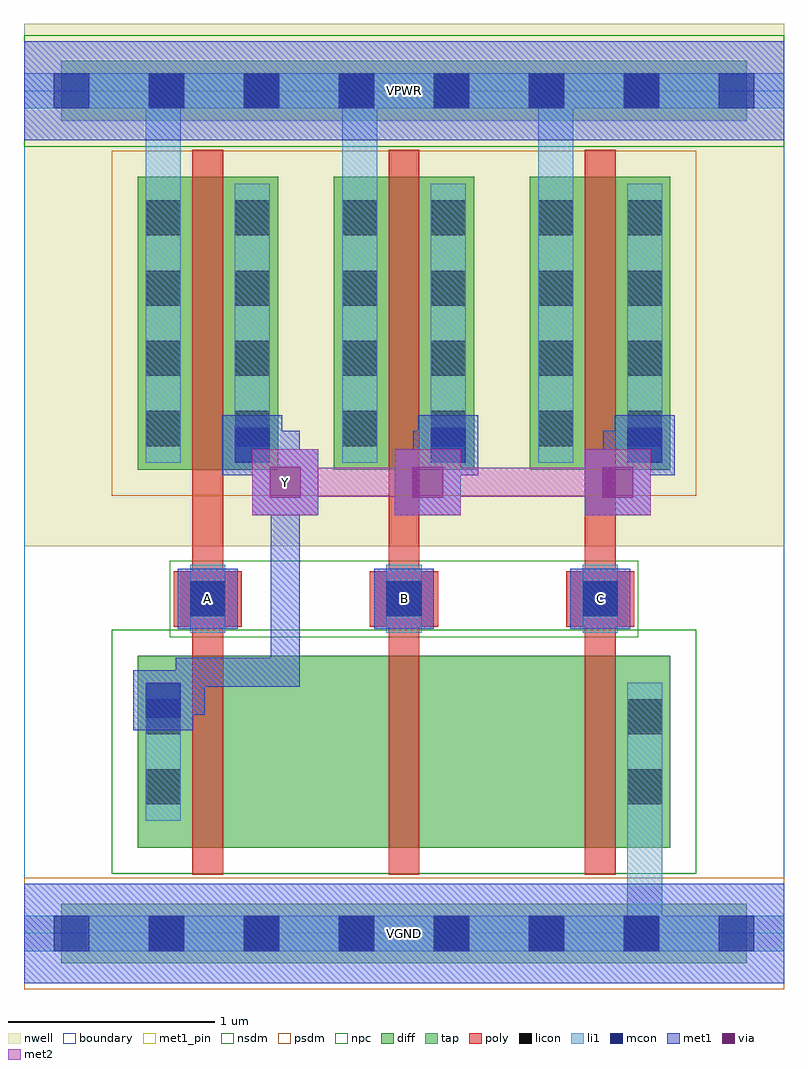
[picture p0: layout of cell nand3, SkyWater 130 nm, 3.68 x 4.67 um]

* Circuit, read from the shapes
.subckt nand3 A B C VGND VPWR Y
XM1 n1 A Y VGND sky130_fd_pr__nfet_01v8 w=0.93 l=0.15
XM2 n2 B n1 VGND sky130_fd_pr__nfet_01v8 w=0.93 l=0.15
XM3 VGND C n2 VGND sky130_fd_pr__nfet_01v8 w=0.93 l=0.15
XM4 Y A VPWR VPWR sky130_fd_pr__pfet_01v8 w=1.42 l=0.15
XM5 Y B VPWR VPWR sky130_fd_pr__pfet_01v8 w=1.42 l=0.15
XM6 Y C VPWR VPWR sky130_fd_pr__pfet_01v8 w=1.42 l=0.15
.ends

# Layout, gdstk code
import gdstk
lib = gdstk.Library(unit=1e-6, precision=1e-09)
def R(c, l, rs):  # rectangles x0, y0, x1, y1
    for r in rs: c.add(gdstk.rectangle(r[:2], r[2:], *l))
def A(c, l, x, y, w, h, nx, ny, dx, dy):  # array of equal rectangles
    R(c, l, [(x+i*dx, y+j*dy, x+i*dx+w, y+j*dy+h) for i in range(nx) for j in range(ny)])
nwell = (64, 20)
diff = (65, 20)
tap = (65, 44)
poly = (66, 20)
licon = (66, 44)
li1 = (67, 20)
mcon = (67, 44)
met1_pin = (68, 16)
met1 = (68, 20)
via = (68, 44)
met2 = (69, 20)
nsdm = (93, 44)
psdm = (94, 20)
npc = (95, 20)
boundary = (235, 4)

nand3 = lib.new_cell('nand3')
R(nand3, nwell, [(0,1.875,3.68,4.405)])
A(nand3, diff, 0.55, 2.245, 0.68, 1.42, 3, 1, 0.95, 0)
R(nand3, diff, [(0.55,0.415,3.13,1.345)])
R(nand3, tap, [(0.18,-0.145,3.5,0.145), (0.18,3.935,3.5,4.225)])
A(nand3, poly, 0.815, 0.285, 0.15, 3.51, 3, 1, 0.95, 0)
A(nand3, poly, 0.725, 1.485, 0.33, 0.27, 3, 1, 0.95, 0)
A(nand3, licon, 0.605, -0.085, 0.17, 0.17, 6, 2, 0.46, 4.08)
A(nand3, licon, 0.805, 1.535, 0.17, 0.17, 3, 1, 0.95, 0)
A(nand3, licon, 0.59, 2.36, 0.17, 0.17, 1, 4, 0, 0.34)
A(nand3, licon, 1.02, 2.36, 0.17, 0.17, 1, 4, 0, 0.34)
A(nand3, licon, 1.54, 2.36, 0.17, 0.17, 1, 4, 0, 0.34)
A(nand3, licon, 1.97, 2.36, 0.17, 0.17, 1, 4, 0, 0.34)
A(nand3, licon, 2.49, 2.36, 0.17, 0.17, 1, 4, 0, 0.34)
A(nand3, licon, 2.92, 2.36, 0.17, 0.17, 1, 4, 0, 0.34)
R(nand3, licon, [(0.59,0.625,0.76,0.795), (2.92,0.625,3.09,0.795), (0.59,0.965,0.76,1.135), (2.92,0.965,3.09,1.135)])
A(nand3, li1, 0.805, 1.455, 0.17, 0.33, 3, 1, 0.95, 0)
A(nand3, li1, 0.59, 2.28, 0.17, 1.885, 3, 1, 0.95, 0)
R(nand3, li1, [(0,-0.085,3.68,0.085), (2.92,-0.085,3.09,1.215), (0.59,0.545,0.76,1.215), (2.92,0.545,3.09,1.215), (0.59,2.28,0.76,3.63), (1.02,2.28,1.19,3.63), (1.54,2.28,1.71,3.63), (1.97,2.28,2.14,3.63), (2.49,2.28,2.66,3.63), (2.92,2.28,3.09,3.63), (0,3.995,3.68,4.165)])
A(nand3, mcon, 0.145, -0.085, 0.17, 0.17, 8, 2, 0.46, 4.08)
A(nand3, mcon, 0.805, 1.535, 0.17, 0.17, 3, 1, 0.95, 0)
A(nand3, mcon, 1.02, 2.28, 0.17, 0.17, 3, 1, 0.95, 0)
R(nand3, mcon, [(0.59,1.045,0.76,1.215)])
A(nand3, met1_pin, 0.745, 1.475, 0.29, 0.29, 3, 1, 0.95, 0)
R(nand3, met1_pin, [(0,-0.24,3.68,0.24), (1.105,2.025,1.425,2.345), (0,3.84,3.68,4.32)])
A(nand3, met1, 0.745, 1.475, 0.29, 0.29, 3, 1, 0.95, 0)
A(nand3, met1, 0.96, 2.22, 0.29, 0.29, 3, 1, 0.95, 0)
R(nand3, met1, [(0,-0.24,3.68,0.24), (0.53,0.985,0.82,1.275), (0.605,1.06,0.875,1.2), (0.735,1.06,0.875,1.335), (0.735,1.195,1.335,1.335), (1.195,1.195,1.335,2.255), (1.105,2.025,1.425,2.345), (1.795,2.025,2.115,2.345), (2.715,2.025,3.035,2.345), (1.195,2.115,1.335,2.435), (1.885,2.115,2.025,2.435), (2.805,2.115,2.945,2.435), (1.035,2.295,1.335,2.435), (1.885,2.295,2.125,2.435), (2.805,2.295,3.075,2.435), (0,3.84,3.68,4.32)])
R(nand3, via, [(1.19,2.11,1.34,2.26), (1.88,2.11,2.03,2.26), (2.8,2.11,2.95,2.26)])
R(nand3, met2, [(1.105,2.025,1.425,2.345), (1.795,2.025,2.115,2.345), (2.715,2.025,3.035,2.345), (1.195,2.115,2.025,2.255), (1.885,2.115,2.945,2.255)])
R(nand3, nsdm, [(0.425,0.29,3.255,1.47), (0,3.81,3.68,4.35)])
R(nand3, psdm, [(0,-0.27,3.68,0.27), (0.425,2.12,3.255,3.79)])
R(nand3, npc, [(0.705,1.435,2.975,1.805)])
R(nand3, boundary, [(0,0,3.68,4.08)])
nand3.add(gdstk.Label('A', (0.89,1.62), layer=68, texttype=5))
nand3.add(gdstk.Label('B', (1.84,1.62), layer=68, texttype=5))
nand3.add(gdstk.Label('C', (2.79,1.62), layer=68, texttype=5))
nand3.add(gdstk.Label('Y', (1.265,2.185), layer=68, texttype=5))
nand3.add(gdstk.Label('VPWR', (1.84,4.08), layer=68, texttype=5))
nand3.add(gdstk.Label('VGND', (1.84,0), layer=68, texttype=5))
nand3.add(gdstk.Label('A', (0.89,1.62), layer=68, texttype=16))
nand3.add(gdstk.Label('B', (1.84,1.62), layer=68, texttype=16))
nand3.add(gdstk.Label('C', (2.79,1.62), layer=68, texttype=16))
nand3.add(gdstk.Label('Y', (1.265,2.185), layer=68, texttype=16))
nand3.add(gdstk.Label('VPWR', (1.84,4.08), layer=68, texttype=16))
nand3.add(gdstk.Label('VGND', (1.84,0), layer=68, texttype=16))

lib.write_gds('nand3.gds')
